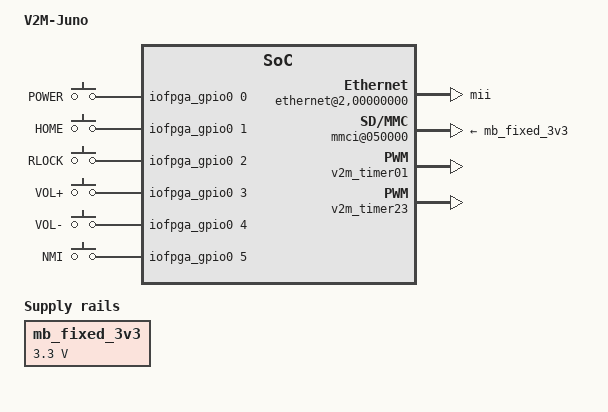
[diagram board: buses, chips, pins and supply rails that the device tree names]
/*
 * ARM Juno Platform motherboard peripherals
 *
 * Copyright (c) 2013-2014 ARM Ltd
 *
 * This file is licensed under a dual GPLv2 or BSD license.
 *
 */

		mb_clk24mhz: clk24mhz {
			compatible = "fixed-clock";
			#clock-cells = <0>;
			clock-frequency = <24000000>;
			clock-output-names = "juno_mb:clk24mhz";
		};

		mb_clk25mhz: clk25mhz {
			compatible = "fixed-clock";
			#clock-cells = <0>;
			clock-frequency = <25000000>;
			clock-output-names = "juno_mb:clk25mhz";
		};

		v2m_refclk1mhz: refclk1mhz {
			compatible = "fixed-clock";
			#clock-cells = <0>;
			clock-frequency = <1000000>;
			clock-output-names = "juno_mb:refclk1mhz";
		};

		v2m_refclk32khz: refclk32khz {
			compatible = "fixed-clock";
			#clock-cells = <0>;
			clock-frequency = <32768>;
			clock-output-names = "juno_mb:refclk32khz";
		};

		motherboard {
			compatible = "arm,vexpress,v2p-p1", "simple-bus";
			#address-cells = <2>;  /* SMB chipselect number and offset */
			#size-cells = <1>;
			#interrupt-cells = <1>;
			ranges;
			model = "V2M-Juno";
			arm,hbi = <0x252>;
			arm,vexpress,site = <0>;
			arm,v2m-memory-map = "rs1";

			mb_fixed_3v3: mcc-sb-3v3 {
				compatible = "regulator-fixed";
				regulator-name = "MCC_SB_3V3";
				regulator-min-microvolt = <3300000>;
				regulator-max-microvolt = <3300000>;
				regulator-always-on;
			};

			gpio_keys {
				compatible = "gpio-keys";
				#address-cells = <1>;
				#size-cells = <0>;

				power-button {
					debounce_interval = <50>;
					wakeup-source;
					linux,code = <116>;
					label = "POWER";
					gpios = <&iofpga_gpio0 0 0x4>;
				};
				home-button {
					debounce_interval = <50>;
					wakeup-source;
					linux,code = <102>;
					label = "HOME";
					gpios = <&iofpga_gpio0 1 0x4>;
				};
				rlock-button {
					debounce_interval = <50>;
					wakeup-source;
					linux,code = <152>;
					label = "RLOCK";
					gpios = <&iofpga_gpio0 2 0x4>;
				};
				vol-up-button {
					debounce_interval = <50>;
					wakeup-source;
					linux,code = <115>;
					label = "VOL+";
					gpios = <&iofpga_gpio0 3 0x4>;
				};
				vol-down-button {
					debounce_interval = <50>;
					wakeup-source;
					linux,code = <114>;
					label = "VOL-";
					gpios = <&iofpga_gpio0 4 0x4>;
				};
				nmi-button {
					debounce_interval = <50>;
					wakeup-source;
					linux,code = <99>;
					label = "NMI";
					gpios = <&iofpga_gpio0 5 0x4>;
				};
			};

			flash@0,00000000 {
				/* 2 * 32MiB NOR Flash memory mounted on CS0 */
				compatible = "arm,vexpress-flash", "cfi-flash";
				linux,part-probe = "afs";
				reg = <0 0x00000000 0x04000000>;
				bank-width = <4>;
				/*
				 * Unfortunately, accessing the flash disturbs
				 * the CPU idle states (suspend) and CPU
				 * hotplug of the platform. For this reason,
				 * flash hardware access is disabled by default.
				 */
				status = "disabled";
			};

			ethernet@2,00000000 {
				compatible = "smsc,lan9118", "smsc,lan9115";
				reg = <2 0x00000000 0x10000>;
				interrupts = <3>;
				phy-mode = "mii";
				reg-io-width = <4>;
				smsc,irq-active-high;
				smsc,irq-push-pull;
				clocks = <&mb_clk25mhz>;
				vdd33a-supply = <&mb_fixed_3v3>;
				vddvario-supply = <&mb_fixed_3v3>;
			};

			iofpga@3,00000000 {
				compatible = "simple-bus";
				#address-cells = <1>;
				#size-cells = <1>;
				ranges = <0 3 0 0x200000>;

				v2m_sysctl: sysctl@020000 {
					compatible = "arm,sp810", "arm,primecell";
					reg = <0x020000 0x1000>;
					clocks = <&v2m_refclk32khz>, <&v2m_refclk1mhz>, <&mb_clk24mhz>;
					clock-names = "refclk", "timclk", "apb_pclk";
					#clock-cells = <1>;
					clock-output-names = "timerclken0", "timerclken1", "timerclken2", "timerclken3";
					assigned-clocks = <&v2m_sysctl 0>, <&v2m_sysctl 1>, <&v2m_sysctl 3>, <&v2m_sysctl 3>;
					assigned-clock-parents = <&v2m_refclk1mhz>, <&v2m_refclk1mhz>, <&v2m_refclk1mhz>, <&v2m_refclk1mhz>;
				};

				apbregs@010000 {
					compatible = "syscon", "simple-mfd";
					reg = <0x010000 0x1000>;

					led0 {
						compatible = "register-bit-led";
						offset = <0x08>;
						mask = <0x01>;
						label = "vexpress:0";
						linux,default-trigger = "heartbeat";
						default-state = "on";
					};
					led1 {
						compatible = "register-bit-led";
						offset = <0x08>;
						mask = <0x02>;
						label = "vexpress:1";
						linux,default-trigger = "mmc0";
						default-state = "off";
					};
					led2 {
						compatible = "register-bit-led";
						offset = <0x08>;
						mask = <0x04>;
						label = "vexpress:2";
						linux,default-trigger = "cpu0";
						default-state = "off";
					};
					led3 {
						compatible = "register-bit-led";
						offset = <0x08>;
						mask = <0x08>;
						label = "vexpress:3";
						linux,default-trigger = "cpu1";
						default-state = "off";
					};
					led4 {
						compatible = "register-bit-led";
						offset = <0x08>;
						mask = <0x10>;
						label = "vexpress:4";
						linux,default-trigger = "cpu2";
						default-state = "off";
					};
					led5 {
						compatible = "register-bit-led";
						offset = <0x08>;
						mask = <0x20>;
						label = "vexpress:5";
						linux,default-trigger = "cpu3";
						default-state = "off";
					};
					led6 {
						compatible = "register-bit-led";
						offset = <0x08>;
						mask = <0x40>;
						label = "vexpress:6";
						default-state = "off";
					};
					led7 {
						compatible = "register-bit-led";
						offset = <0x08>;
						mask = <0x80>;
						label = "vexpress:7";
						default-state = "off";
					};
				};

				mmci@050000 {
					compatible = "arm,pl180", "arm,primecell";
					reg = <0x050000 0x1000>;
					interrupts = <5>;
					/* cd-gpios = <&v2m_mmc_gpios 0 0>;
					wp-gpios = <&v2m_mmc_gpios 1 0>; */
					max-frequency = <12000000>;
					vmmc-supply = <&mb_fixed_3v3>;
					clocks = <&mb_clk24mhz>, <&soc_smc50mhz>;
					clock-names = "mclk", "apb_pclk";
				};

				kmi@060000 {
					compatible = "arm,pl050", "arm,primecell";
					reg = <0x060000 0x1000>;
					interrupts = <8>;
					clocks = <&mb_clk24mhz>, <&soc_smc50mhz>;
					clock-names = "KMIREFCLK", "apb_pclk";
				};

				kmi@070000 {
					compatible = "arm,pl050", "arm,primecell";
					reg = <0x070000 0x1000>;
					interrupts = <8>;
					clocks = <&mb_clk24mhz>, <&soc_smc50mhz>;
					clock-names = "KMIREFCLK", "apb_pclk";
				};

				wdt@0f0000 {
					compatible = "arm,sp805", "arm,primecell";
					reg = <0x0f0000 0x10000>;
					interrupts = <7>;
					clocks = <&mb_clk24mhz>, <&soc_smc50mhz>;
					clock-names = "wdogclk", "apb_pclk";
				};

				v2m_timer01: timer@110000 {
					compatible = "arm,sp804", "arm,primecell";
					reg = <0x110000 0x10000>;
					interrupts = <9>;
					clocks = <&v2m_sysctl 0>, <&v2m_sysctl 1>, <&mb_clk24mhz>;
					clock-names = "timclken1", "timclken2", "apb_pclk";
				};

				v2m_timer23: timer@120000 {
					compatible = "arm,sp804", "arm,primecell";
					reg = <0x120000 0x10000>;
					interrupts = <9>;
					clocks = <&v2m_sysctl 2>, <&v2m_sysctl 3>, <&mb_clk24mhz>;
					clock-names = "timclken1", "timclken2", "apb_pclk";
				};

				rtc@170000 {
					compatible = "arm,pl031", "arm,primecell";
					reg = <0x170000 0x10000>;
					interrupts = <0>;
					clocks = <&soc_smc50mhz>;
					clock-names = "apb_pclk";
				};

				iofpga_gpio0: gpio@1d0000 {
					compatible = "arm,pl061", "arm,primecell";
					reg = <0x1d0000 0x1000>;
					interrupts = <6>;
					clocks = <&soc_smc50mhz>;
					clock-names = "apb_pclk";
					gpio-controller;
					#gpio-cells = <2>;
					interrupt-controller;
					#interrupt-cells = <2>;
				};
			};
		};
